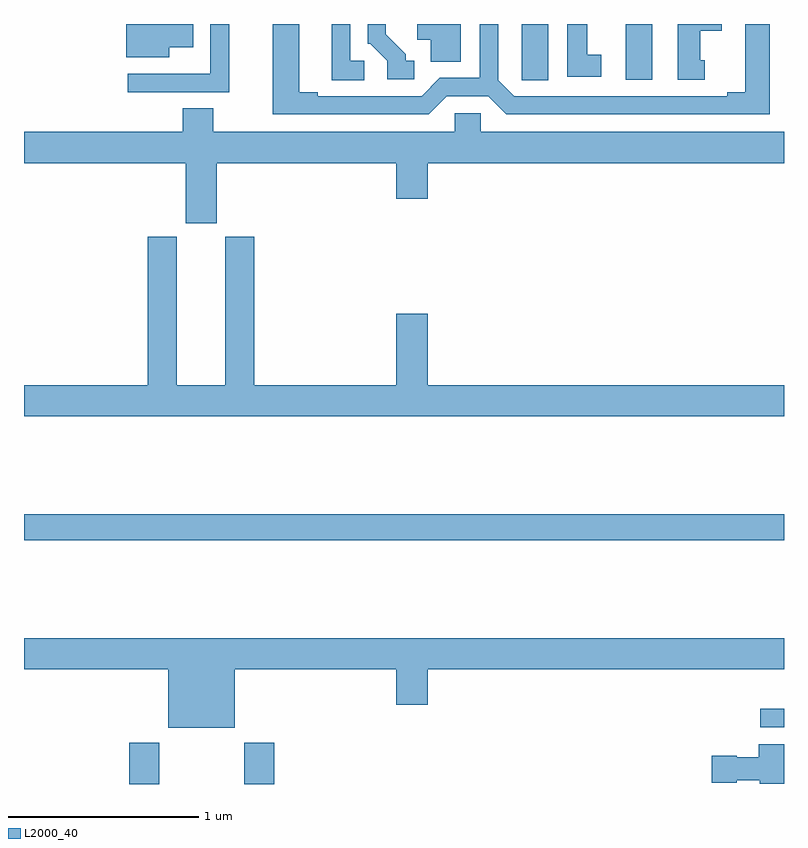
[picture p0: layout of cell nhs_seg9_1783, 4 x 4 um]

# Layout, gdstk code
import gdstk
lib = gdstk.Library(unit=1e-6, precision=1e-09)
def R(c, l, rs):  # rectangles x0, y0, x1, y1
    for r in rs: c.add(gdstk.rectangle(r[:2], r[2:], *l))
def P(c, l, *ps):  # polygons
    for p in ps: c.add(gdstk.Polygon(p, *l))
L2000_40 = (2000, 40)

nhs_seg9_1783 = lib.new_cell('nhs_seg9_1783')
R(nhs_seg9_1783, L2000_40, [(211.553,1178.5,211.713,1178.716), (212.158,1178.5,212.318,1178.716), (214.875,1178.799,215,1178.895), (211,1179.784,215,1179.92), (214.166,1182.207,214.306,1182.5)])
P(nhs_seg9_1783, L2000_40, [(214.582,1182.309),(214.558,1182.309),(214.558,1182.464),(214.672,1182.464),(214.672,1182.5),(214.442,1182.5),(214.442,1182.207),(214.582,1182.207)],
  [(214.039,1182.338),(213.964,1182.338),(213.964,1182.5),(213.86,1182.5),(213.86,1182.222),(214.039,1182.222)],
  [(213.055,1182.306),(213.01,1182.306),(213.01,1182.341),(212.905,1182.446),(212.905,1182.5),(212.808,1182.5),(212.808,1182.396),(212.823,1182.396),(212.913,1182.306),(212.913,1182.21),(213.055,1182.21)],
  [(212.791,1182.306),(212.718,1182.306),(212.718,1182.5),(212.621,1182.5),(212.621,1182.205),(212.791,1182.205)],
  [(212.079,1182.5),(211.98,1182.5),(211.98,1182.238),(211.979,1182.238),(211.979,1182.237),(211.545,1182.237),(211.545,1182.141),(212.079,1182.141)],
  [(211.765,1182.377),(211.891,1182.377),(211.891,1182.5),(211.538,1182.5),(211.538,1182.326),(211.765,1182.326)],
  [(213.298,1182.5),(213.071,1182.5),(213.071,1182.416),(213.14,1182.416),(213.14,1182.301),(213.298,1182.301)],
  [(213.76,1182.5),(213.62,1182.5),(213.62,1182.313),(213.621,1182.313),(213.621,1182.205),(213.76,1182.205)],
  [(213.225,1182.12),(213.443,1182.12),(213.539,1182.024),(214.924,1182.024),(214.924,1182.5),(214.796,1182.5),(214.796,1182.14),(214.7,1182.14),(214.7,1182.12),(213.579,1182.12),(213.495,1182.204),(213.495,1182.5),(213.399,1182.5),(213.399,1182.216),(213.189,1182.216),(213.093,1182.12),(212.545,1182.12),(212.545,1182.14),(212.449,1182.14),(212.449,1182.5),(212.309,1182.5),(212.309,1182.024),(213.129,1182.024)],
  [(212.014,1181.768),(212.96,1181.768),(212.96,1181.58),(213.124,1181.58),(213.124,1181.768),(215,1181.768),(215,1181.932),(213.405,1181.932),(213.405,1182.03),(213.267,1182.03),(213.267,1181.932),(211.995,1181.932),(211.995,1182.056),(211.835,1182.056),(211.835,1181.932),(211,1181.932),(211,1181.768),(211.85,1181.768),(211.85,1181.451),(212.014,1181.451)],
  [(215,1180.6),(213.124,1180.6),(213.124,1180.975),(212.96,1180.975),(212.96,1180.6),(212.213,1180.6),(212.213,1181.379),(212.06,1181.379),(212.06,1180.6),(211.804,1180.6),(211.804,1181.379),(211.652,1181.379),(211.652,1180.6),(211,1180.6),(211,1180.436),(215,1180.436)],
  [(212.11,1179.104),(212.96,1179.104),(212.96,1178.916),(213.124,1178.916),(213.124,1179.104),(215,1179.104),(215,1179.268),(211,1179.268),(211,1179.104),(211.76,1179.104),(211.76,1178.795),(212.11,1178.795)],
  [(215,1178.71),(214.868,1178.71),(214.868,1178.641),(214.752,1178.641),(214.752,1178.649),(214.62,1178.649),(214.62,1178.507),(214.752,1178.507),(214.752,1178.519),(214.872,1178.519),(214.872,1178.501),(215,1178.501)])

lib.write_gds('nhs_seg9_1783.gds')
